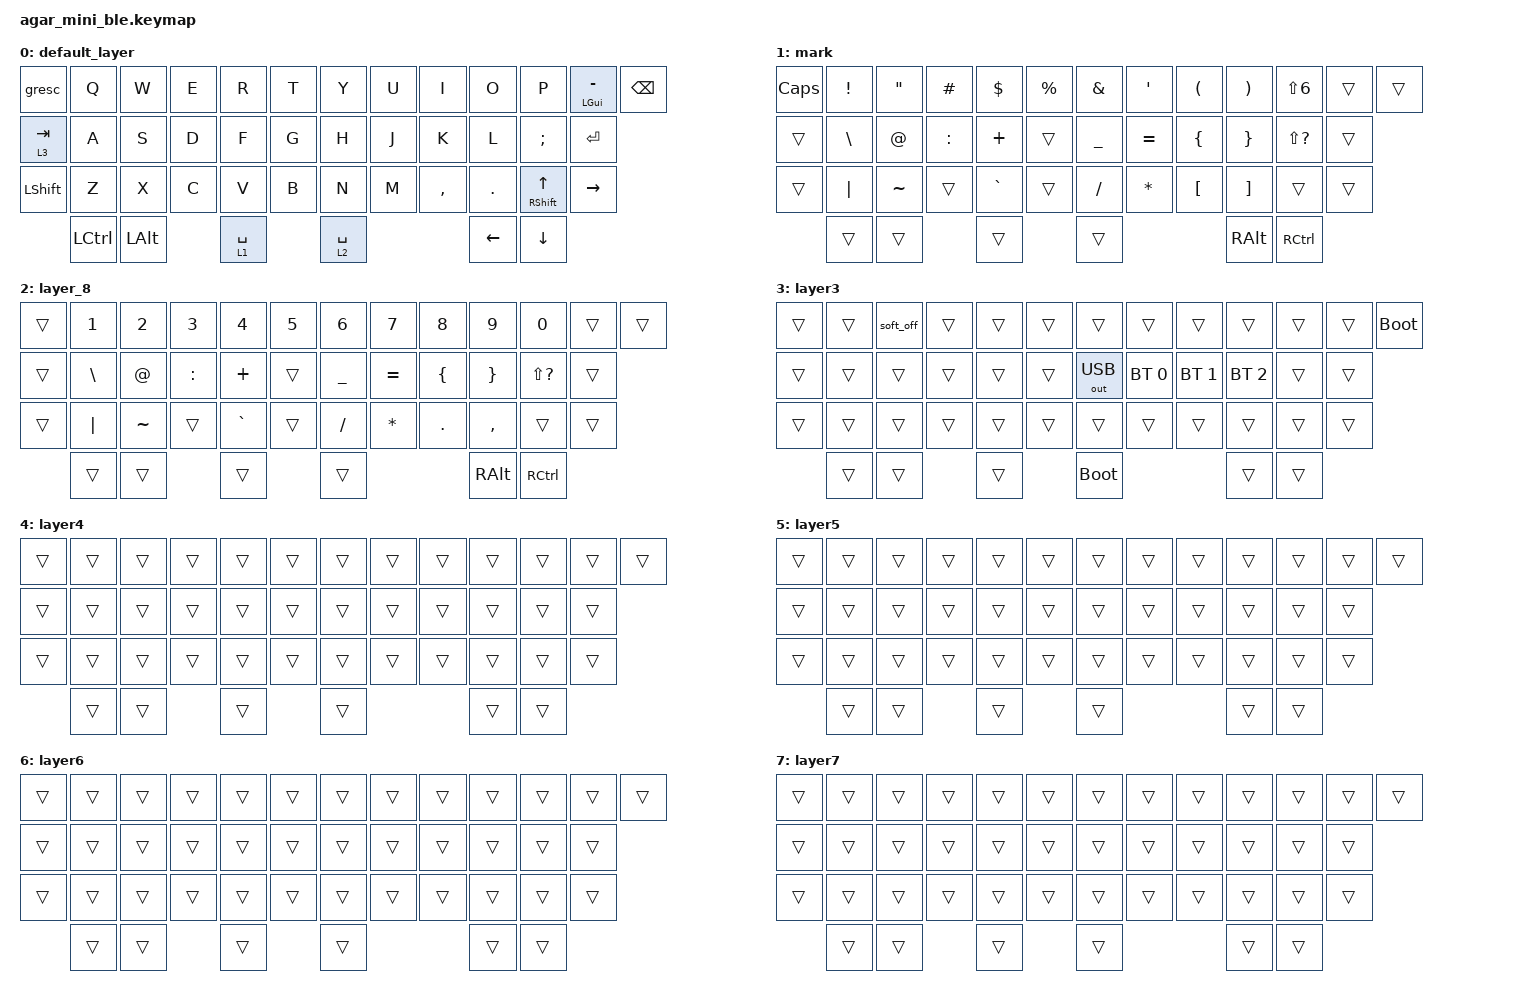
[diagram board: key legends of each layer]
/*
 * Copyright (c) 2021 The ZMK Contributors
 *
 * SPDX-License-Identifier: MIT
 */

#include "./boards/shields/klink_kbd/common.keymap"
#include <behaviors.dtsi>
#include <dt-bindings/zmk/bt.h>
#include <dt-bindings/zmk/keys.h>
#include <dt-bindings/zmk/outputs.h>

/ {
    combos {
        compatible = "zmk,combos";

        combo_return {
            bindings = <&kp RETURN>;
            key-positions = <21 20>;
            layers = <0 3 3>;
        };

        combo_kanji {
            bindings = <&kp LC(SPACE)>;
            key-positions = <17 16>;
            layers = <0 3 3>;
        };

        combo_caps {
            bindings = <&kp CAPS>;
            key-positions = <15 16>;
        };
    };

    keymap {
        compatible = "zmk,keymap";

        default_layer {
            bindings = <
&gresc     &kp Q      &kp W     &kp E  &kp R        &kp T  &kp Y        &kp U  &kp I      &kp O           &kp P                &mt LGUI MINUS  &kp BSPC
&lt 3 TAB  &kp A      &kp S     &kp D  &kp F        &kp G  &kp H        &kp J  &kp K      &kp L           &kp SEMI             &kp RET
&kp LSHFT  &kp Z      &kp X     &kp C  &kp V        &kp B  &kp N        &kp M  &kp COMMA  &kp DOT         &mt RSHIFT UP_ARROW  &kp RIGHT
           &kp LCTRL  &kp LALT         &lt 1 SPACE         &lt 2 SPACE                    &kp LEFT_ARROW  &kp DOWN_ARROW
            >;
        };

        mark {
            bindings = <
&kp CAPSLOCK  &kp EXCLAMATION  &kp DOUBLE_QUOTES  &kp HASH   &kp DOLLAR  &kp PERCENT  &kp AMPERSAND   &kp SQT       &kp LEFT_PARENTHESIS  &kp RIGHT_PARENTHESIS  &kp LS(NUMBER_6)  &trans  &trans
&trans        &kp BACKSLASH    &kp AT_SIGN        &kp COLON  &kp PLUS    &trans       &kp UNDERSCORE  &kp EQUAL     &kp LEFT_BRACE        &kp RIGHT_BRACE        &kp LS(QUESTION)  &trans
&trans        &kp PIPE         &kp TILDE          &trans     &kp GRAVE   &trans       &kp SLASH       &kp ASTERISK  &kp LEFT_BRACKET      &kp RIGHT_BRACKET      &trans            &trans
              &trans           &trans                        &trans                   &trans                                              &kp RALT               &kp RCTRL
            >;
        };

        layer_8 {
            bindings = <
&trans  &kp NUMBER_1   &kp N2       &kp N3     &kp N4     &kp N5  &kp NUMBER_6    &kp N7        &kp N8          &kp N9           &kp N0            &trans  &trans
&trans  &kp BACKSLASH  &kp AT_SIGN  &kp COLON  &kp PLUS   &trans  &kp UNDERSCORE  &kp EQUAL     &kp LEFT_BRACE  &kp RIGHT_BRACE  &kp LS(QUESTION)  &trans
&trans  &kp PIPE       &kp TILDE    &trans     &kp GRAVE  &trans  &kp SLASH       &kp ASTERISK  &kp PERIOD      &kp COMMA        &trans            &trans
        &trans         &trans                  &trans             &trans                                        &kp RALT         &kp RCTRL
            >;
        };

        layer3 {
            bindings = <
&trans  &trans  &soft_off  &trans  &trans  &trans  &trans        &trans        &trans        &trans        &trans  &trans  &bootloader
&trans  &trans  &trans     &trans  &trans  &trans  &out OUT_USB  &bt BT_SEL 0  &bt BT_SEL 1  &bt BT_SEL 2  &trans  &trans
&trans  &trans  &trans     &trans  &trans  &trans  &trans        &trans        &trans        &trans        &trans  &trans
        &trans  &trans             &trans          &bootloader                               &trans        &trans
            >;
        };

        layer4 {
            bindings = <
&trans  &trans  &trans  &trans  &trans  &trans  &trans  &trans  &trans  &trans  &trans  &trans  &trans
&trans  &trans  &trans  &trans  &trans  &trans  &trans  &trans  &trans  &trans  &trans  &trans
&trans  &trans  &trans  &trans  &trans  &trans  &trans  &trans  &trans  &trans  &trans  &trans
        &trans  &trans          &trans          &trans                  &trans  &trans
            >;
        };

        layer5 {
            bindings = <
&trans  &trans  &trans  &trans  &trans  &trans  &trans  &trans  &trans  &trans  &trans  &trans  &trans
&trans  &trans  &trans  &trans  &trans  &trans  &trans  &trans  &trans  &trans  &trans  &trans
&trans  &trans  &trans  &trans  &trans  &trans  &trans  &trans  &trans  &trans  &trans  &trans
        &trans  &trans          &trans          &trans                  &trans  &trans
            >;
        };

        layer6 {
            bindings = <
&trans  &trans  &trans  &trans  &trans  &trans  &trans  &trans  &trans  &trans  &trans  &trans  &trans
&trans  &trans  &trans  &trans  &trans  &trans  &trans  &trans  &trans  &trans  &trans  &trans
&trans  &trans  &trans  &trans  &trans  &trans  &trans  &trans  &trans  &trans  &trans  &trans
        &trans  &trans          &trans          &trans                  &trans  &trans
            >;
        };

        layer7 {
            bindings = <
&trans  &trans  &trans  &trans  &trans  &trans  &trans  &trans  &trans  &trans  &trans  &trans  &trans
&trans  &trans  &trans  &trans  &trans  &trans  &trans  &trans  &trans  &trans  &trans  &trans
&trans  &trans  &trans  &trans  &trans  &trans  &trans  &trans  &trans  &trans  &trans  &trans
        &trans  &trans          &trans          &trans                  &trans  &trans
            >;
        };
    };

    conditional_layers { compatible = "zmk,conditional-layers"; };
};
